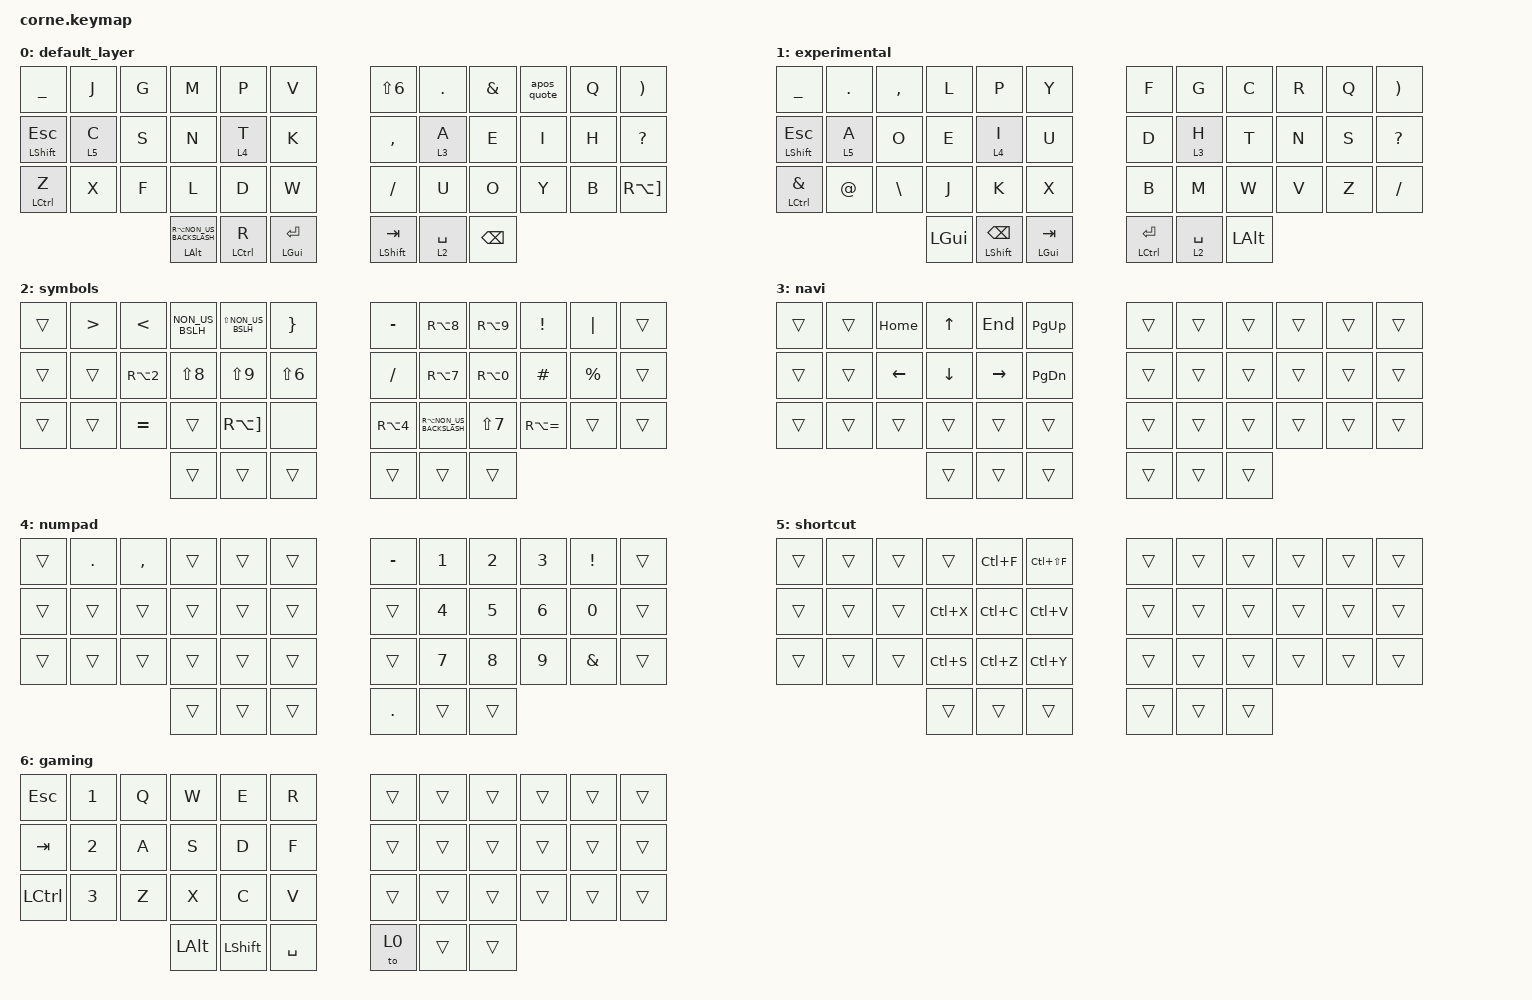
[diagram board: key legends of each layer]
/*
 * Copyright (c) 2020 The ZMK Contributors
 *
 * SPDX-License-Identifier: MIT
 */

#include <behaviors.dtsi>
#include <dt-bindings/zmk/bt.h>
#include <dt-bindings/zmk/keys.h>

#define dk_question UNDERSCORE
#define dk_quot AT_SIGN
#define dk_apos BACKSLASH
#define dk_equal RIGHT_PARENTHESIS
#define dk_underscore QUESTION
#define dk_dash SLASH
#define dk_fslash AMPERSAND
#define dk_bslash RA(NON_US_BACKSLASH)
#define dk_pipe RA(EQUAL)
#define dk_plus MINUS
#define dk_star EXCLAMATION
#define dk_and LS(NUMBER_6)
#define dk_home RA(RIGHT_BRACKET)
#define dk_hat RIGHT_BRACE


&mt { flavor = "balanced"; };

&lt { flavor = "balanced"; };

/ {
    combos {
        compatible = "zmk,combos";

        to-gaming {
            timeout-ms = <30>;
            bindings = <&to 6>;
            key-positions = <36 37 38 39 40 41>;
        };

        to-default {
            timeout-ms = <30>;
            bindings = <&to 0>;
            key-positions = <39 40 41>;
        };

        to-experimental {
            timeout-ms = <30>;
            bindings = <&to 1>;
            key-positions = <36 37 38>;
        };

        ae {
            timeout-ms = <30>;
            bindings = <&kp SEMICOLON>;
            key-positions = <16 15>;
        };

        oe {
            timeout-ms = <30>;
            bindings = <&kp APOS>;
            key-positions = <16 14>;
        };

        aa {
            timeout-ms = <30>;
            bindings = <&kp LEFT_BRACKET>;
            key-positions = <16 13>;
        };

        ctrlspace {
            bindings = <&kp LC(SPACE)>;
            key-positions = <28 27>;
        };

        BT0 {
            bindings = <&bt BT_SEL 0>;
            key-positions = <0 1>;
        };

        BT1 {
            bindings = <&bt BT_SEL 1>;
            key-positions = <12 13>;
        };

        BT2 {
            bindings = <&bt BT_SEL 2>;
            key-positions = <24 25>;
        };

        BT_clr {
            bindings = <&bt BT_CLR>;
            key-positions = <0 2>;
        };

        F12_key {
            bindings = <&kp F12>;
            key-positions = <8 7>;
        };

        F5_key {
            bindings = <&kp F5>;
            key-positions = <31 32>;
        };

        F10_key {
            bindings = <&kp F10>;
            key-positions = <31 33>;
        };

        F11_key {
            bindings = <&kp F11>;
            key-positions = <31 34>;
        };

        F9_key {
            bindings = <&kp F9>;
            key-positions = <7 9>;
        };
    };

    macros {
        ae_macro: ae_macro {
            compatible = "zmk,behavior-macro";
            #binding-cells = <0>;
            bindings = <&kp LA(KP_NUMBER_1) &kp LA(KP_NUMBER_4) &kp LA(KP_NUMBER_5)>;
            label = "AE_MACRO";
        };
    };

    behaviors {
        td_apos_quot: tap_dance_0 {
            compatible = "zmk,behavior-tap-dance";
            #binding-cells = <0>;
            tapping-term-ms = <200>;
            bindings = <&kp BACKSLASH>, <&kp AT_SIGN>;
        };

        apos_quote: apos_quote {
            compatible = "zmk,behavior-tap-dance";
            label = "APOS_QUOTE";
            #binding-cells = <0>;
            bindings = <&kp BACKSLASH>, <&kp AT_SIGN>;
        };
    };

    keymap {
        compatible = "zmk,keymap";

        default_layer {
            bindings = <
&kp dk_question    &kp J    &kp G  &kp M                              &kp P        &kp V           &kp dk_and          &kp PERIOD   &kp dk_fslash  &apos_quote  &kp Q  &kp dk_equal
&mt LSHIFT ESCAPE  &lt 5 C  &kp S  &kp N                              &lt 4 T      &kp K           &kp COMMA           &lt 3 A      &kp E          &kp I        &kp H  &kp dk_underscore
&mt LCTRL Z        &kp X    &kp F  &kp L                              &kp D        &kp W           &kp dk_dash         &kp U        &kp O          &kp Y        &kp B  &kp dk_home
                                   &mt LEFT_ALT RA(NON_US_BACKSLASH)  &mt LCTRL R  &mt LGUI RET    &mt LEFT_SHIFT TAB  &lt 2 SPACE  &kp BACKSPACE
            >;
        };

        experimental {
            // -----------------------------------------------------------------------------------------
            // |  TAB |  Q  |  W  |  E  |  R  |  T  |   |  Y  |  U   |  I  |  O  |  P  | BSPC |
            // | CTRL |  A  |  S  |  D  |  F  |  G  |   |  H  |  J   |  K  |  L  |  ;  |  '   |
            // | SHFT |  Z  |  X  |  C  |  V  |  B  |   |  N  |  M   |  ,  |  .  |  /  | ESC  |
            //                    | GUI | LWR | SPC |   | ENT | RSE  | ALT |

            bindings = <
&kp dk_question      &kp PERIOD   &kp COMMA      &kp L     &kp P                     &kp Y           &kp F          &kp G        &kp C         &kp R  &kp Q  &kp RIGHT_PARENTHESIS
&mt LSHIFT ESCAPE    &lt 5 A      &kp O          &kp E     &lt 4 I                   &kp U           &kp D          &lt 3 H      &kp T         &kp N  &kp S  &kp QUESTION
&mt LCTRL AMPERSAND  &kp AT_SIGN  &kp BACKSLASH  &kp J     &kp K                     &kp X           &kp B          &kp M        &kp W         &kp V  &kp Z  &kp SLASH
                                                 &kp LGUI  &mt LEFT_SHIFT BACKSPACE  &mt LGUI TAB    &mt LCTRL RET  &lt 2 SPACE  &kp LEFT_ALT
            >;
        };

        symbols {
            // -----------------------------------------------------------------------------------------
            // |  TAB |  1  |  2  |  3  |  4  |  5  |   |  6  |  7  |  8  |  9  |  0  | BSPC |
            // | BTCLR| BT1 | BT2 | BT3 | BT4 | BT5 |   | LFT | DWN |  UP | RGT |     |      |
            // | SHFT |     |     |     |     |     |   |     |     |     |     |     |      |
            //                    | GUI |     | SPC |   | ENT |     | ALT |

            bindings = <
&trans  &kp GT  &kp LT            &kp NON_US_BSLH  &kp LS(NON_US_BSLH)    &kp dk_hat          &kp MINUS         &kp RA(NUMBER_8)          &kp RA(N9)  &kp dk_star    &kp PIPE     &trans
&trans  &trans  &kp RA(NUMBER_2)  &kp LS(N8)       &kp LS(N9)             &kp LS(NUMBER_6)    &kp SLASH         &kp RA(N7)                &kp RA(N0)  &kp HASH       &kp PERCENT  &trans
&trans  &trans  &kp EQUAL         &trans           &kp RA(RIGHT_BRACKET)  &none               &kp RA(NUMBER_4)  &kp RA(NON_US_BACKSLASH)  &kp LS(N7)  &kp RA(EQUAL)  &trans       &trans
                                  &trans           &trans                 &trans              &trans            &trans                    &trans
            >;
        };

        navi {
            // -----------------------------------------------------------------------------------------
            // |  TAB |  !  |  @  |  #  |  $  |  %  |   |  ^  |  &  |  *  |  (  |  )  | BSPC |
            // | CTRL |     |     |     |     |     |   |  -  |  =  |  [  |  ]  |  \  |  `   |
            // | SHFT |     |     |     |     |     |   |  _  |  +  |  {  |  }  | "|" |  ~   |
            //                    | GUI |     | SPC |   | ENT |     | ALT |

            bindings = <
&trans  &trans  &kp HOME  &kp UP    &kp END    &kp PG_UP        &trans  &trans  &trans  &trans  &trans  &trans
&trans  &trans  &kp LEFT  &kp DOWN  &kp RIGHT  &kp PAGE_DOWN    &trans  &trans  &trans  &trans  &trans  &trans
&trans  &trans  &trans    &trans    &trans     &trans           &trans  &trans  &trans  &trans  &trans  &trans
                          &trans    &trans     &trans           &trans  &trans  &trans
            >;
        };

        numpad {
            bindings = <
&trans  &kp PERIOD  &kp COMMA  &trans  &trans  &trans    &kp dk_plus  &kp NUMBER_1  &kp NUMBER_2  &kp NUMBER_3  &kp dk_star    &trans
&trans  &trans      &trans     &trans  &trans  &trans    &trans       &kp NUMBER_4  &kp N5        &kp NUMBER_6  &kp N0         &trans
&trans  &trans      &trans     &trans  &trans  &trans    &trans       &kp N7        &kp N8        &kp N9        &kp dk_fslash  &trans
                               &trans  &trans  &trans    &kp PERIOD   &trans        &trans
            >;
        };

        shortcut {
            bindings = <
&trans  &trans  &trans  &trans     &kp LC(F)  &kp LC(LS(F))    &trans  &trans  &trans  &trans  &trans  &trans
&trans  &trans  &trans  &kp LC(X)  &kp LC(C)  &kp LC(V)        &trans  &trans  &trans  &trans  &trans  &trans
&trans  &trans  &trans  &kp LC(S)  &kp LC(Z)  &kp LC(Y)        &trans  &trans  &trans  &trans  &trans  &trans
                        &trans     &trans     &trans           &trans  &trans  &trans
            >;
        };

        gaming {
            bindings = <
&kp ESC    &kp N1  &kp Q  &kp W         &kp E       &kp R        &trans  &trans  &trans  &trans  &trans  &trans
&kp TAB    &kp N2  &kp A  &kp S         &kp D       &kp F        &trans  &trans  &trans  &trans  &trans  &trans
&kp LCTRL  &kp N3  &kp Z  &kp X         &kp C       &kp V        &trans  &trans  &trans  &trans  &trans  &trans
                          &kp LEFT_ALT  &kp LSHIFT  &kp SPACE    &to 0   &trans  &trans
            >;
        };
    };
};
